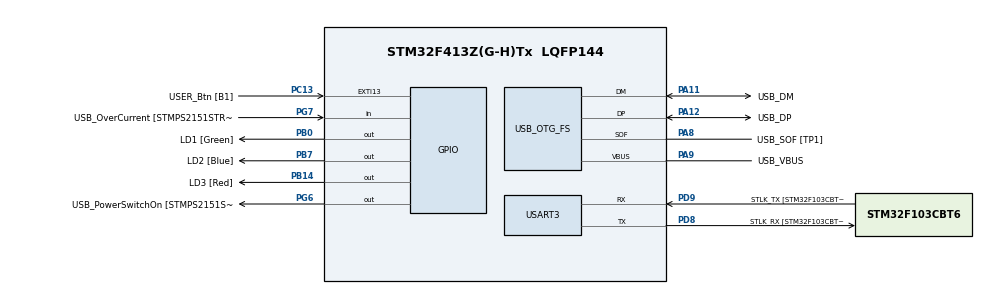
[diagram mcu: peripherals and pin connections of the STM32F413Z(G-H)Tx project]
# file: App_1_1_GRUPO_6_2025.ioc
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Mcu.Family=STM32F4
Mcu.Name=STM32F413Z(G-H)Tx
Mcu.Package=LQFP144
NVIC.PriorityGroup=NVIC_PRIORITYGROUP_4
PA10.GPIO_Label=USB_ID
PA10.Signal=USB_OTG_FS_ID
PA11.GPIO_Label=USB_DM
PA11.Mode=Device_Only
PA11.Signal=USB_OTG_FS_DM
PA12.GPIO_Label=USB_DP
PA12.Mode=Device_Only
PA12.Signal=USB_OTG_FS_DP
PA13.GPIO_Label=TMS
PA13.Mode=Serial_Wire
PA13.Signal=SYS_JTMS-SWDIO
PA14.GPIO_Label=TCK
PA14.Mode=Serial_Wire
PA14.Signal=SYS_JTCK-SWCLK
PA8.GPIO_Label=USB_SOF [TP1]
PA8.Mode=Activate_SOF_FS
PA8.Signal=USB_OTG_FS_SOF
PA9.GPIO_Label=USB_VBUS
PA9.Mode=Activate_VBUS
PA9.Signal=USB_OTG_FS_VBUS
PB0.GPIO_Label=LD1 [Green]
PB0.Signal=GPIO_Output
PB14.GPIO_Label=LD3 [Red]
PB14.Signal=GPIO_Output
PB3.GPIO_Label=SWO
PB3.Signal=SYS_JTDO-SWO
PB7.GPIO_Label=LD2 [Blue]
PB7.Signal=GPIO_Output
PC13.GPIO_Label=USER_Btn [B1]
PC13.Signal=GPXTI13
PC14-OSC32_IN.Mode=LSE-External-Oscillator
PC14-OSC32_IN.Signal=RCC_OSC32_IN
PC15-OSC32_OUT.Mode=LSE-External-Oscillator
PC15-OSC32_OUT.Signal=RCC_OSC32_OUT
PD8.GPIO_Label=STLK_RX [STM32F103CBT6_PA3]
PD8.Mode=Asynchronous
PD8.Signal=USART3_TX
PD9.GPIO_Label=STLK_TX [STM32F103CBT6_PA2]
PD9.Mode=Asynchronous
PD9.Signal=USART3_RX
PG6.GPIO_Label=USB_PowerSwitchOn [STMPS2151STR_EN]
PG6.Signal=GPIO_Output
PG7.GPIO_Label=USB_OverCurrent [STMPS2151STR_FAULT]
PG7.Signal=GPIO_Input
PH0\ -\ OSC_IN.GPIO_Label=MCO
PH0\ -\ OSC_IN.Mode=HSE-External-Clock-Source
PH0\ -\ OSC_IN.Signal=RCC_OSC_IN
PH1\ -\ OSC_OUT.Mode=HSE-External-Clock-Source
PH1\ -\ OSC_OUT.Signal=RCC_OSC_OUT
ProjectManager.HeapSize=0x200
ProjectManager.StackSize=0x400
ProjectManager.TargetToolchain=STM32CubeIDE
RCC.48MHZClocksFreq_Value=24000000
RCC.AHBFreq_Value=96000000
RCC.APB1CLKDivider=RCC_HCLK_DIV2
RCC.APB1Freq_Value=48000000
RCC.APB1TimFreq_Value=96000000
RCC.APB2Freq_Value=96000000
RCC.APB2TimFreq_Value=96000000
RCC.CortexFreq_Value=96000000
RCC.HCLKFreq_Value=96000000
RCC.HSE_VALUE=8000000
RCC.HSI_VALUE=16000000
RCC.PLLM=8
RCC.PLLMUL=RCC_PLL_MUL9
RCC.PLLN=384
RCC.PLLP=RCC_PLLP_DIV4
RCC.PLLQ=8
RCC.PRESCALERUSB=RCC_USBCLKSOURCE_PLL_DIV1_5
RCC.SYSCLKFreq_VALUE=96000000
RCC.SYSCLKSource=RCC_SYSCLKSOURCE_PLLCLK
RCC.SYSCLKSourceVirtual=RCC_SYSCLKSOURCE_PLLCLK
RCC.USBFreq_Value=48000000
RCC.VCOOutputFreq_Value=384000000
USART3.VirtualMode=VM_ASYNC
USB_OTG_FS.VirtualMode=Device_Only
board=NUCLEO-F413ZH

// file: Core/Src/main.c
/* USER CODE BEGIN Header */
/**
  ******************************************************************************
  * @file           : main.c
  * @brief          : Main program body
  ******************************************************************************
  * @attention
  *
  * Copyright (c) 2025 STMicroelectronics.
  * All rights reserved.
  *
  * This software is licensed under terms that can be found in the LICENSE file
  * in the root directory of this software component.
  * If no LICENSE file comes with this software, it is provided AS-IS.
  *
  ******************************************************************************
  */
/* USER CODE END Header */
#include "main.h"
#include "API_GPIO.h"
#include "API_Delay.h"
#include "API_Debounce.h"

/* USER CODE BEGIN PD */
#define N 3 																		// Variable N para definir el tamaño del vector LED
#define LED_DELAY 200																// Retardo
/* USER CODE END PD */

/* USER CODE BEGIN PV */
uint16_t LED[N]={LD1_Pin, LD2_Pin, LD3_Pin};										//vector de leds
int led_actual=0;
delay_t delay;
uint8_t estado_boton=0;
uint8_t secuencia=0;																//Numero de secuencia
/* USER CODE END PV */
void SystemClock_Config(void);
void MX_GPIO_Init(void);

/* USER CODE BEGIN 0 */
bool_t readButton = true;
/* USER CODE END 0 */

int main(void)
{
  /* USER CODE BEGIN 1 */
  delayInit(&delay, LED_DELAY);															//200ms
  /* USER CODE END 1 */

  /* MCU Configuration-------------------------------------------------------------------------------------------------------------------------------------------*/

  /* Reset of all peripherals, Initializes the Flash interface and the Systick. */
  HAL_Init();

  /* Configure the system clock */
  SystemClock_Config();

  /* Initialize all configured peripherals */
  MX_GPIO_Init();
  MX_USART3_UART_Init();
  MX_USB_OTG_FS_PCD_Init();

  /* USER CODE BEGIN 2 */
  writeLedOff_GPIO(LED[0] | LED[1] | LED[2]);
  debounceFSM_init();
  /* USER CODE END 2 */

  /* Infinite loop */
  /* USER CODE BEGIN WHILE */
  /*-----------------------------------------------------------------------------------------------------------------------------------------------------------*/
  while (1){
	/* Programa para hacer parpadear leds en secuencia cada 200 ms */
	  readButton = readButton_GPIO(); 												// Lee estado actual del boton y lo guarda
	  debounceFSM_update(readButton);
	  if(readKey()){
		 secuencia=(secuencia+1)%2;													// Cambia entre las 2 secuencias
		 writeLedOff_GPIO(LED[0] | LED[1] | LED[2]);								// Se apagan todos los leds antes de comenzar una nueva secuencia
		 led_actual=0;
	  }
	  	  switch (secuencia)
	 	  {
	 	  	  case 0:																// Secuencia 1 Parpadean en secuencia cada 200ms (verde, azul, rojo)
	 	          if (delayRead(&delay)){
	 	        	  toggleLed_GPIO(LED[led_actual]);
	 	          	  led_actual=(led_actual+1)%N;
	 	          }
	 	  	  	  break;

	 	        case 1:																// Secuencia 2 Parpadea solo el Led_2 Azul
	 	  	  		if (delayRead(&delay)){
	 	  	  			 toggleLed_GPIO(LED[1]);
	 	  	  		}
	 	  	  		break;

	 	  }
  }
/* USER CODE END WHILE */

}

void Error_Handler(void){
  __disable_irq();
  while (1){
  }
}
